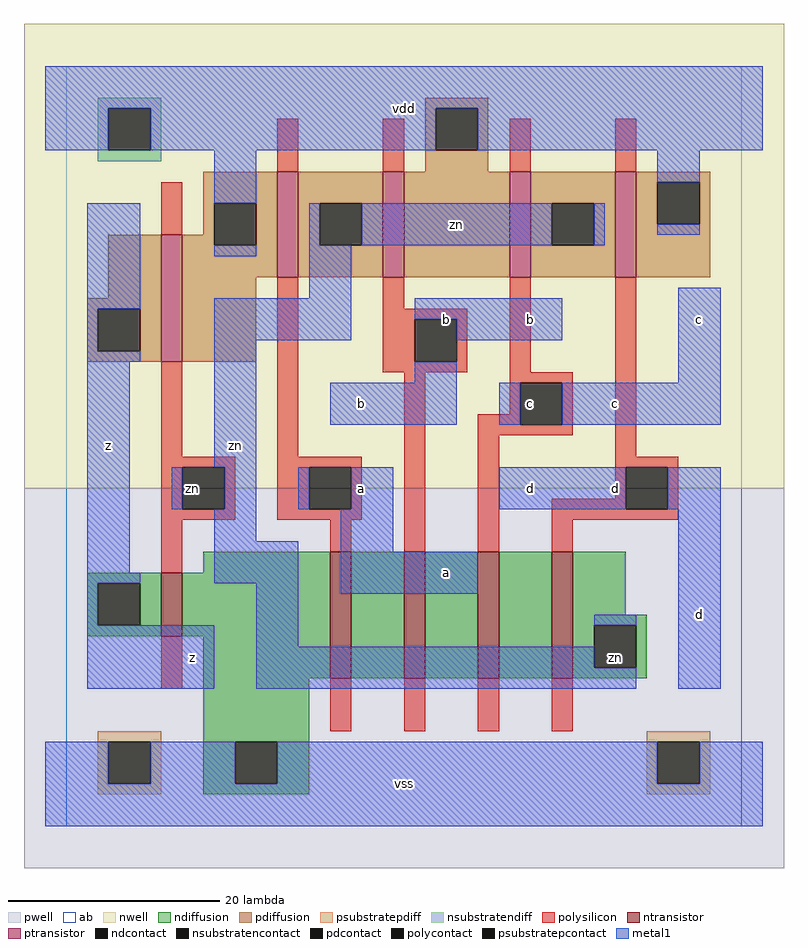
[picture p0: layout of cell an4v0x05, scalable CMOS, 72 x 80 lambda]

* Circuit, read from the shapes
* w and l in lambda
.subckt an4v0x05 a b c d vdd vss z zn
M1 vss zn z vss nfet w=6 l=2
M2 n1 a vss vss nfet w=12 l=2
M3 n2 b n1 vss nfet w=12 l=2
M4 n3 c n2 vss nfet w=12 l=2
M5 zn d n3 vss nfet w=12 l=2
M6 vdd zn z vdd pfet w=12 l=2
M7 zn a vdd vdd pfet w=10 l=2
M8 vdd b zn vdd pfet w=10 l=2
M9 zn c vdd vdd pfet w=10 l=2
M10 vdd d zn vdd pfet w=10 l=2
.ends

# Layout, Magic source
magic
tech scmos
<< ab >>
rect 0 0 64 72
<< pwell >>
rect -4 -4 68 32
<< nwell >>
rect -4 32 68 76
<< polysilicon >>
rect 20 62 22 67
rect 30 62 32 67
rect 42 62 44 67
rect 52 62 54 67
rect 9 56 11 61
rect 9 35 11 44
rect 20 35 22 52
rect 30 49 32 52
rect 30 48 38 49
rect 30 44 33 48
rect 37 44 38 48
rect 30 43 38 44
rect 42 43 44 52
rect 9 34 16 35
rect 9 30 11 34
rect 15 30 16 34
rect 9 29 16 30
rect 20 34 28 35
rect 20 30 23 34
rect 27 30 28 34
rect 20 29 28 30
rect 9 24 11 29
rect 25 26 27 29
rect 32 26 34 43
rect 42 42 48 43
rect 42 39 43 42
rect 39 38 43 39
rect 47 38 48 42
rect 39 37 48 38
rect 39 26 41 37
rect 52 35 54 52
rect 52 34 58 35
rect 52 31 53 34
rect 46 30 53 31
rect 57 30 58 34
rect 46 29 58 30
rect 46 26 48 29
rect 9 13 11 18
rect 25 9 27 14
rect 32 9 34 14
rect 39 9 41 14
rect 46 9 48 14
<< ndiffusion >>
rect 13 24 25 26
rect 2 23 9 24
rect 2 19 3 23
rect 7 19 9 23
rect 2 18 9 19
rect 11 18 25 24
rect 13 14 25 18
rect 27 14 32 26
rect 34 14 39 26
rect 41 14 46 26
rect 48 20 53 26
rect 48 19 55 20
rect 48 15 50 19
rect 54 15 55 19
rect 48 14 55 15
rect 13 8 23 14
rect 13 4 16 8
rect 20 4 23 8
rect 13 3 23 4
<< pdiffusion >>
rect 34 68 40 69
rect 34 64 35 68
rect 39 64 40 68
rect 34 62 40 64
rect 13 59 20 62
rect 13 56 14 59
rect 4 50 9 56
rect 2 49 9 50
rect 2 45 3 49
rect 7 45 9 49
rect 2 44 9 45
rect 11 55 14 56
rect 18 55 20 59
rect 11 52 20 55
rect 22 59 30 62
rect 22 55 24 59
rect 28 55 30 59
rect 22 52 30 55
rect 32 52 42 62
rect 44 59 52 62
rect 44 55 46 59
rect 50 55 52 59
rect 44 52 52 55
rect 54 61 61 62
rect 54 57 56 61
rect 60 57 61 61
rect 54 52 61 57
rect 11 44 18 52
<< metal1 >>
rect -2 68 66 72
rect -2 64 4 68
rect 8 64 35 68
rect 39 64 66 68
rect 14 59 18 64
rect 56 61 60 64
rect 2 49 7 59
rect 14 54 18 55
rect 23 55 24 59
rect 28 55 46 59
rect 50 55 51 59
rect 56 56 60 57
rect 23 50 27 55
rect 2 45 3 49
rect 2 44 7 45
rect 14 46 27 50
rect 33 48 47 50
rect 2 24 6 44
rect 14 34 18 46
rect 37 46 47 48
rect 33 42 37 44
rect 58 42 62 51
rect 25 38 37 42
rect 41 38 43 42
rect 47 38 62 42
rect 10 30 11 34
rect 15 30 18 34
rect 22 30 23 34
rect 27 30 31 34
rect 41 30 53 34
rect 57 30 62 34
rect 14 27 18 30
rect 2 23 7 24
rect 14 23 22 27
rect 2 19 3 23
rect 2 13 14 19
rect 18 17 22 23
rect 26 26 31 30
rect 26 22 39 26
rect 50 19 54 20
rect 18 15 50 17
rect 18 13 54 15
rect 58 13 62 30
rect -2 4 4 8
rect 8 4 16 8
rect 20 4 56 8
rect 60 4 66 8
rect -2 0 66 4
<< ntransistor >>
rect 9 18 11 24
rect 25 14 27 26
rect 32 14 34 26
rect 39 14 41 26
rect 46 14 48 26
<< ptransistor >>
rect 9 44 11 56
rect 20 52 22 62
rect 30 52 32 62
rect 42 52 44 62
rect 52 52 54 62
<< polycontact >>
rect 33 44 37 48
rect 11 30 15 34
rect 23 30 27 34
rect 43 38 47 42
rect 53 30 57 34
<< ndcontact >>
rect 3 19 7 23
rect 50 15 54 19
rect 16 4 20 8
<< pdcontact >>
rect 35 64 39 68
rect 3 45 7 49
rect 14 55 18 59
rect 24 55 28 59
rect 46 55 50 59
rect 56 57 60 61
<< psubstratepcontact >>
rect 4 4 8 8
rect 56 4 60 8
<< nsubstratencontact >>
rect 4 64 8 68
<< psubstratepdiff >>
rect 3 8 9 9
rect 3 4 4 8
rect 8 4 9 8
rect 3 3 9 4
rect 55 8 61 9
rect 55 4 56 8
rect 60 4 61 8
rect 55 3 61 4
<< nsubstratendiff >>
rect 3 68 9 69
rect 3 64 4 68
rect 8 64 9 68
rect 3 63 9 64
<< labels >>
rlabel polycontact 12 32 12 32 6 zn
rlabel metal1 4 36 4 36 6 z
rlabel metal1 12 16 12 16 6 z
rlabel metal1 16 36 16 36 6 zn
rlabel metal1 32 4 32 4 6 vss
rlabel metal1 36 24 36 24 6 a
rlabel metal1 28 32 28 32 6 a
rlabel metal1 28 40 28 40 6 b
rlabel metal1 36 48 36 48 6 b
rlabel metal1 32 68 32 68 6 vdd
rlabel metal1 44 32 44 32 6 d
rlabel polycontact 44 40 44 40 6 c
rlabel metal1 44 48 44 48 6 b
rlabel metal1 37 57 37 57 6 zn
rlabel ndcontact 52 16 52 16 6 zn
rlabel metal1 60 20 60 20 6 d
rlabel metal1 52 32 52 32 6 d
rlabel metal1 52 40 52 40 6 c
rlabel metal1 60 48 60 48 6 c
<< end >>
